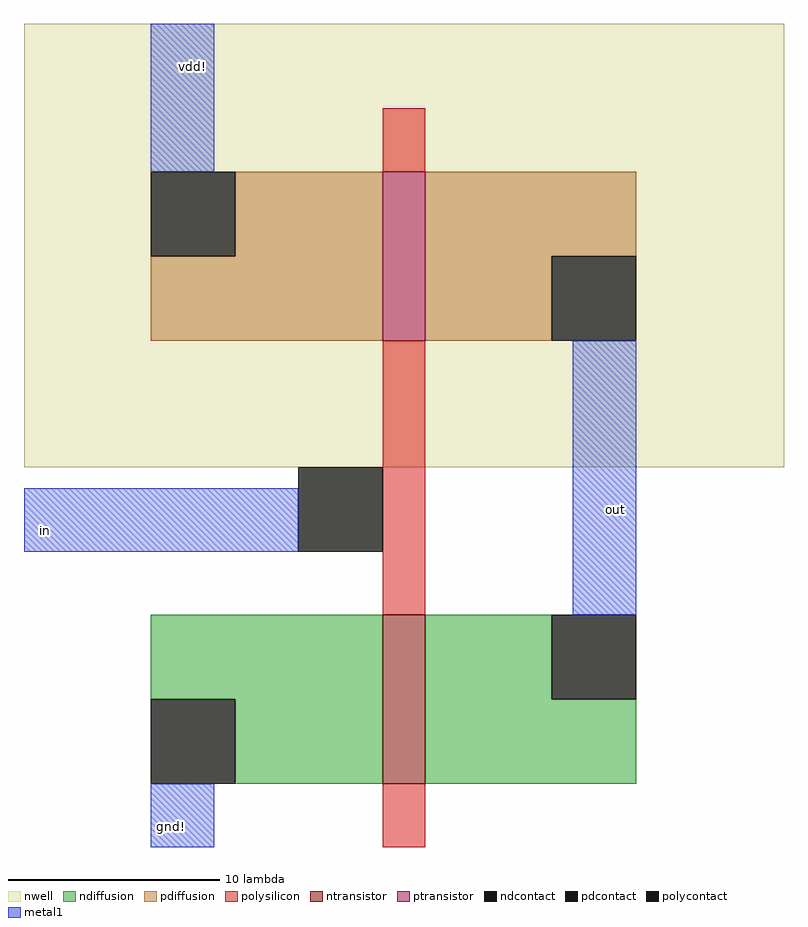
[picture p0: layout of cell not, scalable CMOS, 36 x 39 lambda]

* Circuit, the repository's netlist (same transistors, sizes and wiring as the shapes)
* SPICE3 file created from not.ext - technology: scmos
.include TSMC_180nm.txt
.option scale=0.09u

M1000 out in gnd Gnd CMOSN w=8 l=2
+  ad=80 pd=36 as=88 ps=38
M1001 out in vdd w_n14_2# CMOSP w=8 l=2
+  ad=80 pd=36 as=88 ps=38

Vdd vdd gnd 2


V_in_a in gnd DC 0


.tran 1u 10000u




.control
run
set color0 = rgb:f/f/e
set color1 = black

.endc
.end

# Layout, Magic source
magic
tech scmos
<< nwell >>
rect -14 2 22 23
<< ntransistor >>
rect 3 -13 5 -5
<< ptransistor >>
rect 3 8 5 16
<< ndiffusion >>
rect -8 -9 3 -5
rect -4 -13 3 -9
rect 5 -9 11 -5
rect 5 -13 15 -9
<< pdiffusion >>
rect -4 12 3 16
rect -8 8 3 12
rect 5 12 15 16
rect 5 8 11 12
<< ndcontact >>
rect -8 -13 -4 -9
rect 11 -9 15 -5
<< pdcontact >>
rect -8 12 -4 16
rect 11 8 15 12
<< polysilicon >>
rect 3 16 5 19
rect 3 -5 5 8
rect 3 -16 5 -13
<< polycontact >>
rect -1 -2 3 2
<< metal1 >>
rect -8 16 -5 23
rect -14 -2 -1 1
rect 12 -5 15 8
rect -8 -16 -5 -13
<< labels >>
rlabel metal1 -13 -1 -13 -1 3 in
rlabel metal1 14 0 14 0 1 out
rlabel metal1 -6 21 -6 21 5 vdd!
rlabel metal1 -7 -15 -7 -15 1 gnd!
<< end >>
